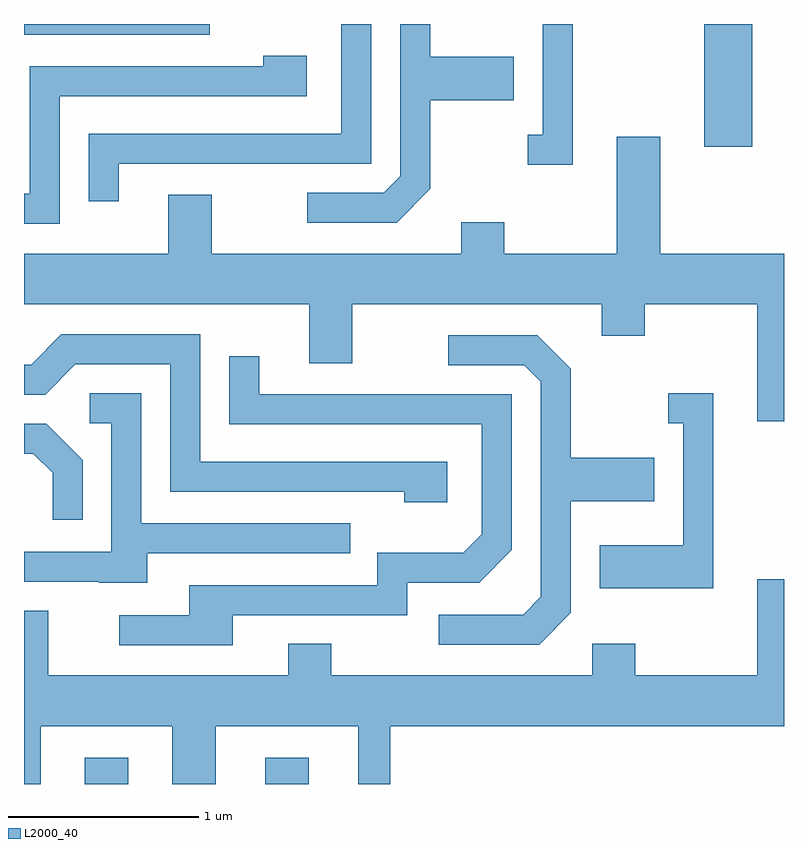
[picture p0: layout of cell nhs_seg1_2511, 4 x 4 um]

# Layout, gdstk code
import gdstk
lib = gdstk.Library(unit=1e-6, precision=1e-09)
def R(c, l, rs):  # rectangles x0, y0, x1, y1
    for r in rs: c.add(gdstk.rectangle(r[:2], r[2:], *l))
def P(c, l, *ps):  # polygons
    for p in ps: c.add(gdstk.Polygon(p, *l))
L2000_40 = (2000, 40)

nhs_seg1_2511 = lib.new_cell('nhs_seg1_2511')
R(nhs_seg1_2511, L2000_40, [(261.931,903.712,262.159,903.849), (262.881,903.712,263.109,903.849), (265.191,907.066,265.444,907.712), (261.611,907.656,262.588,907.712)])
P(nhs_seg1_2511, L2000_40, [(262.109,906.976),(263.439,906.976),(263.439,907.712),(263.281,907.712),(263.281,907.134),(261.951,907.134),(261.951,906.778),(262.109,906.778)],
  [(263.749,906.844),(263.749,907.311),(264.189,907.311),(264.189,907.539),(263.749,907.539),(263.749,907.712),(263.591,907.712),(263.591,906.912),(263.504,906.824),(263.103,906.824),(263.103,906.666),(263.572,906.666)],
  [(264.499,907.712),(264.341,907.712),(264.341,907.129),(264.263,907.129),(264.263,906.971),(264.499,906.971)],
  [(261.799,907.331),(263.099,907.331),(263.099,907.544),(262.871,907.544),(262.871,907.489),(261.641,907.489),(261.641,906.819),(261.611,906.819),(261.611,906.661),(261.799,906.661)],
  [(265.611,906.504),(264.959,906.504),(264.959,907.119),(264.731,907.119),(264.731,906.504),(264.139,906.504),(264.139,906.669),(263.911,906.669),(263.911,906.504),(262.599,906.504),(262.599,906.814),(262.371,906.814),(262.371,906.504),(261.611,906.504),(261.611,906.236),(263.111,906.236),(263.111,905.926),(263.339,905.926),(263.339,906.236),(264.651,906.236),(264.651,906.071),(264.879,906.071),(264.879,906.236),(265.471,906.236),(265.471,905.621),(265.611,905.621)],
  [(263.839,905.409),(262.539,905.409),(262.539,906.079),(261.808,906.079),(261.649,905.919),(261.611,905.919),(261.611,905.761),(261.722,905.761),(261.882,905.921),(262.381,905.921),(262.381,905.251),(263.611,905.251),(263.611,905.196),(263.839,905.196)],
  [(264.489,904.614),(264.489,905.201),(264.929,905.201),(264.929,905.429),(264.489,905.429),(264.489,905.897),(264.312,906.074),(263.843,906.074),(263.843,905.916),(264.244,905.916),(264.331,905.829),(264.331,904.697),(264.239,904.604),(263.793,904.604),(263.793,904.446),(264.322,904.446)],
  [(262.709,904.601),(263.629,904.601),(263.629,904.771),(264.007,904.771),(264.179,904.944),(264.179,905.764),(262.849,905.764),(262.849,905.963),(262.691,905.963),(262.691,905.606),(264.021,905.606),(264.021,905.027),(263.924,904.929),(263.471,904.929),(263.471,904.759),(262.481,904.759),(262.481,904.599),(262.113,904.599),(262.113,904.441),(262.709,904.441)],
  [(262.259,904.926),(263.328,904.926),(263.328,905.084),(262.229,905.084),(262.229,905.769),(261.957,905.769),(261.957,905.611),(262.071,905.611),(262.071,904.934),(261.611,904.934),(261.611,904.776),(262.005,904.776),(262.005,904.771),(262.259,904.771)],
  [(265.239,905.769),(265.003,905.769),(265.003,905.611),(265.081,905.611),(265.081,904.969),(264.641,904.969),(264.641,904.741),(265.239,904.741)],
  [(261.919,905.417),(261.727,905.609),(261.611,905.609),(261.611,905.451),(261.659,905.451),(261.761,905.349),(261.761,905.103),(261.919,905.103)],
  [(261.699,904.016),(262.391,904.016),(262.391,903.712),(262.619,903.712),(262.619,904.016),(263.371,904.016),(263.371,903.712),(263.539,903.712),(263.539,904.016),(265.611,904.016),(265.611,904.789),(265.471,904.789),(265.471,904.284),(264.829,904.284),(264.829,904.449),(264.601,904.449),(264.601,904.284),(263.229,904.284),(263.229,904.449),(263.001,904.449),(263.001,904.284),(261.739,904.284),(261.739,904.624),(261.611,904.624),(261.611,903.712),(261.699,903.712)])

lib.write_gds('nhs_seg1_2511.gds')
